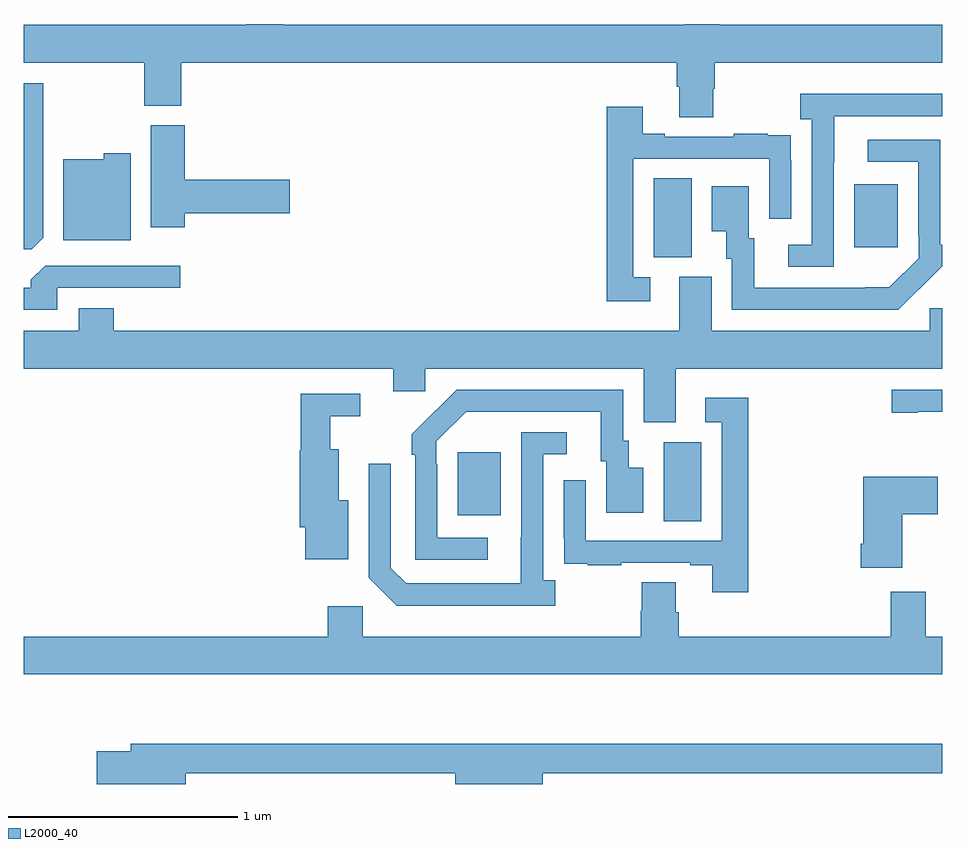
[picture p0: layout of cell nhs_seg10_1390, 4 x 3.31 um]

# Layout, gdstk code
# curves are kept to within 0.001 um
import gdstk
lib = gdstk.Library(unit=1e-6, precision=1e-09)
def R(c, l, rs):  # rectangles x0, y0, x1, y1
    for r in rs: c.add(gdstk.rectangle(r[:2], r[2:], *l))
def P(c, l, *ps):  # polygons
    for p in ps: c.add(gdstk.Polygon(p, *l))
L2000_40 = (2000, 40)

nhs_seg10_1390 = lib.new_cell('nhs_seg10_1390')
R(nhs_seg10_1390, L2000_40, [(185.786,1282.336,185.95,1282.68), (184.889,1282.361,185.077,1282.636), (185.744,1283.485,185.908,1283.828), (186.617,1283.529,186.805,1283.803)])
P(nhs_seg10_1390, L2000_40, [(186.003,1284.219),(186.008,1284.219),(186.008,1284.332),(187,1284.332),(187,1284.496),(186.03,1284.496),(186.03,1284.5),(185.879,1284.5),(185.879,1284.496),(184.13,1284.496),(184.13,1284.5),(183.97,1284.5),(183.97,1284.496),(183,1284.496),(183,1284.332),(183.526,1284.332),(183.526,1284.145),(183.686,1284.145),(183.686,1284.332),(185.843,1284.332),(185.843,1284.226),(185.855,1284.226),(185.855,1284.094),(186.003,1284.094)],
  [(183.085,1283.569),(183.085,1284.241),(183,1284.241),(183,1283.52),(183.036,1283.52)],
  [(186.528,1283.899),(186.529,1283.899),(186.529,1284.099),(187,1284.099),(187,1284.196),(186.381,1284.196),(186.381,1284.086),(186.432,1284.086),(186.432,1283.538),(186.33,1283.538),(186.33,1283.442),(186.528,1283.442)],
  [(185.728,1283.397),(185.655,1283.397),(185.655,1283.913),(186.246,1283.913),(186.246,1283.652),(186.342,1283.652),(186.342,1283.906),(186.341,1283.906),(186.341,1284.015),(186.239,1284.015),(186.239,1284.022),(186.091,1284.022),(186.091,1284.009),(185.791,1284.009),(185.791,1284.022),(185.695,1284.022),(185.695,1284.139),(185.539,1284.139),(185.539,1283.292),(185.728,1283.292)],
  [(183.701,1283.675),(184.159,1283.675),(184.159,1283.822),(183.701,1283.822),(183.701,1284.06),(183.554,1284.06),(183.554,1283.616),(183.701,1283.616)],
  [(186.899,1283.347),(186.9,1283.346),(187,1283.446),(187,1283.539),(186.99,1283.539),(186.99,1283.997),(186.675,1283.997),(186.675,1283.901),(186.894,1283.901),(186.894,1283.581),(186.897,1283.581),(186.897,1283.481),(186.769,1283.353),(186.181,1283.352),(186.181,1283.568),(186.157,1283.568),(186.157,1283.794),(185.996,1283.794),(185.996,1283.597),(186.059,1283.597),(186.059,1283.478),(186.084,1283.478),(186.084,1283.256),(186.808,1283.256)],
  [(183.466,1283.938),(183.348,1283.938),(183.348,1283.911),(183.173,1283.911),(183.173,1283.558),(183.466,1283.558)],
  [(183.147,1283.352),(183.682,1283.352),(183.682,1283.448),(183.093,1283.448),(183.032,1283.386),(183.032,1283.352),(183,1283.352),(183,1283.256),(183.147,1283.256)],
  [(185.839,1283),(187,1283),(187,1283.262),(186.945,1283.262),(186.945,1283.164),(185.995,1283.164),(185.995,1283.4),(185.855,1283.4),(185.855,1283.164),(183.392,1283.164),(183.392,1283.263),(183.239,1283.263),(183.239,1283.164),(183,1283.164),(183,1283),(184.61,1283),(184.61,1282.902),(184.749,1282.902),(184.749,1283),(185.699,1283),(185.699,1282.765),(185.839,1282.765)],
  [(186.892,1282.812),(187,1282.812),(187,1282.908),(186.78,1282.908),(186.78,1282.807),(186.892,1282.807)],
  [(185.02,1282.263),(184.8,1282.263),(184.8,1282.583),(184.797,1282.583),(184.797,1282.683),(184.926,1282.812),(185.513,1282.812),(185.513,1282.596),(185.537,1282.596),(185.537,1282.371),(185.698,1282.371),(185.698,1282.567),(185.635,1282.567),(185.635,1282.686),(185.61,1282.686),(185.61,1282.908),(184.886,1282.908),(184.689,1282.713),(184.689,1282.625),(184.704,1282.625),(184.704,1282.167),(185.02,1282.167)],
  [(184.414,1282.426),(184.372,1282.426),(184.372,1282.648),(184.336,1282.648),(184.336,1282.793),(184.465,1282.793),(184.465,1282.89),(184.207,1282.89),(184.207,1282.644),(184.202,1282.644),(184.202,1282.308),(184.226,1282.308),(184.226,1282.169),(184.414,1282.169)],
  [(186.155,1282.873),(185.967,1282.873),(185.967,1282.767),(186.039,1282.767),(186.039,1282.251),(185.448,1282.251),(185.448,1282.513),(185.352,1282.513),(185.352,1282.258),(185.353,1282.258),(185.353,1282.149),(185.455,1282.149),(185.455,1282.143),(185.603,1282.143),(185.603,1282.155),(185.903,1282.155),(185.903,1282.143),(185.999,1282.143),(185.999,1282.026),(186.155,1282.026)],
  [(185.314,1282.078),(185.262,1282.078),(185.262,1282.626),(185.365,1282.626),(185.365,1282.722),(185.166,1282.722),(185.165,1282.065),(184.665,1282.065),(184.599,1282.131),(184.599,1282.585),(184.503,1282.585),(184.503,1282.089),(184.624,1281.968),(185.314,1281.968)],
  [(186.826,1282.366),(186.979,1282.366),(186.979,1282.528),(186.656,1282.528),(186.656,1282.237),(186.644,1282.237),(186.644,1282.133),(186.826,1282.133)],
  [(187,1281.832),(186.928,1281.832),(186.928,1282.027),(186.776,1282.027),(186.776,1281.832),(185.852,1281.832),(185.852,1281.938),(185.839,1281.938),(185.839,1282.07),(185.692,1282.07),(185.692,1281.945),(185.687,1281.945),(185.687,1281.832),(184.476,1281.832),(184.476,1281.964),(184.325,1281.964),(184.325,1281.832),(183,1281.832),(183,1281.668),(187,1281.668)],
  [(183.706,1281.238),(184.88,1281.238),(184.88,1281.191),(185.26,1281.191),(185.26,1281.238),(187,1281.238),(187,1281.367),(183.467,1281.367),(183.467,1281.333),(183.318,1281.333),(183.318,1281.191),(183.706,1281.191)])

lib.write_gds('nhs_seg10_1390.gds')
